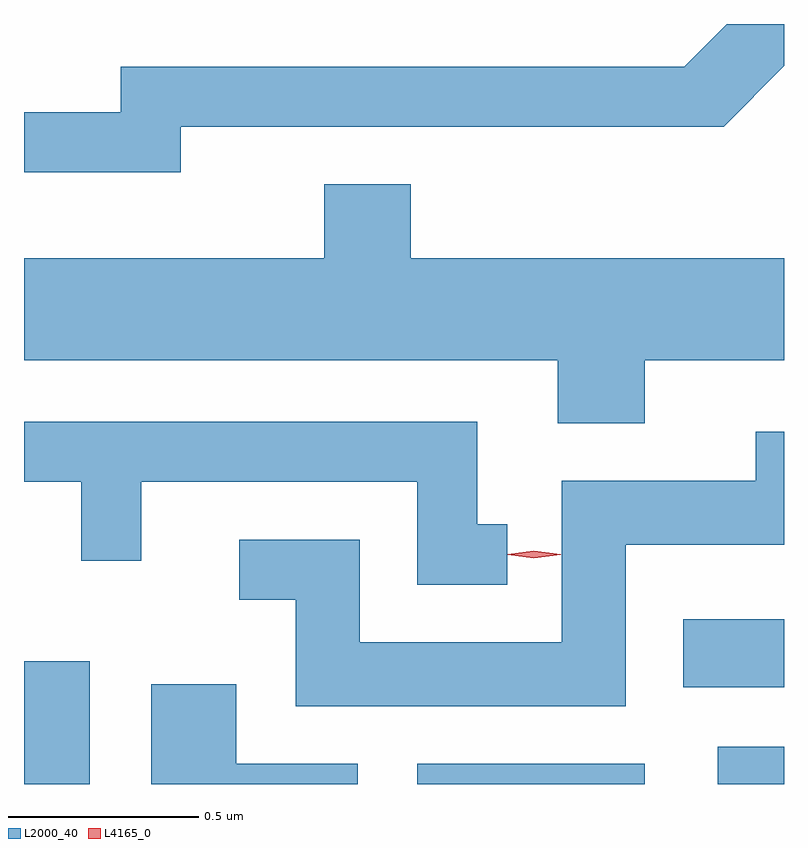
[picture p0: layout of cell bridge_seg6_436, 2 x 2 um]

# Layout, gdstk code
import gdstk
lib = gdstk.Library(unit=1e-6, precision=1e-09)
def R(c, l, rs):  # rectangles x0, y0, x1, y1
    for r in rs: c.add(gdstk.rectangle(r[:2], r[2:], *l))
def P(c, l, *ps):  # polygons
    for p in ps: c.add(gdstk.Polygon(p, *l))
L2000_40 = (2000, 40)
L4165_0 = (4165, 0)

bridge_seg6_436 = lib.new_cell('bridge_seg6_436')
R(bridge_seg6_436, L2000_40, [(921.716,1615.521,921.889,1615.844), (922.751,1615.521,923.349,1615.574), (923.541,1615.521,923.716,1615.619), (923.451,1615.776,923.716,1615.954)])
P(bridge_seg6_436, L2000_40, [(922.129,1617.251),(923.557,1617.251),(923.716,1617.411),(923.716,1617.521),(923.565,1617.521),(923.454,1617.409),(921.971,1617.409),(921.971,1617.289),(921.716,1617.289),(921.716,1617.131),(922.129,1617.131)],
  [(923.349,1616.636),(923.716,1616.636),(923.716,1616.904),(922.734,1616.904),(922.734,1617.099),(922.506,1617.099),(922.506,1616.904),(921.716,1616.904),(921.716,1616.636),(923.121,1616.636),(923.121,1616.471),(923.349,1616.471)],
  [(922.988,1616.204),(922.909,1616.204),(922.909,1616.474),(921.716,1616.474),(921.716,1616.316),(921.866,1616.316),(921.866,1616.108),(922.024,1616.108),(922.024,1616.316),(922.751,1616.316),(922.751,1616.046),(922.988,1616.046)],
  [(923.299,1616.151),(923.716,1616.151),(923.716,1616.448),(923.641,1616.448),(923.641,1616.319),(923.131,1616.319),(923.131,1615.894),(922.599,1615.894),(922.599,1616.164),(922.283,1616.164),(922.283,1616.006),(922.431,1616.006),(922.431,1615.726),(923.299,1615.726)],
  [(922.594,1615.574),(922.274,1615.574),(922.274,1615.784),(922.051,1615.784),(922.051,1615.521),(922.594,1615.521)])
P(bridge_seg6_436, L4165_0, [(923.058,1616.115),(922.989,1616.124),(922.989,1616.125),(922.989,1616.126),(923.058,1616.135),(923.128,1616.126),(923.128,1616.125),(923.128,1616.124)])

lib.write_gds('bridge_seg6_436.gds')
